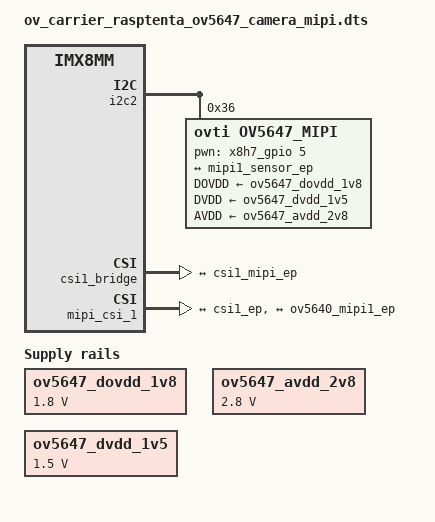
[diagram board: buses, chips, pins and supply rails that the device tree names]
/**
 * Portenta-X8 dtb overlay file
 * Arduino 2023
 * This overlay is adding the RPi V1.3 camera
 * with cmos sensor ov5647 to Rasp-Tenta carrier board
 */

/dts-v1/;
/plugin/;

#include <dt-bindings/gpio/gpio.h>
#include <dt-bindings/interrupt-controller/arm-gic.h>
#include <dt-bindings/clock/imx8mm-clock.h>
#include "imx8mm-pinfunc.h"

/ {
	compatible = "fsl,imx8mm-evk", "fsl,imx8mm";

	fragment@0 {
		target-path = "/";
		__overlay__ {
			ov5647_dovdd_1v8: 1p8v {
				compatible = "regulator-fixed";
				regulator-name = "camera_dovdd";
				regulator-min-microvolt = <1800000>;
				regulator-max-microvolt = <1800000>;
			};

			ov5647_avdd_2v8: 2p8v {
				compatible = "regulator-fixed";
				regulator-name = "camera_avdd";
				regulator-min-microvolt = <2800000>;
				regulator-max-microvolt = <2800000>;
			};

			ov5647_dvdd_1v5: 1p5v {
				compatible = "regulator-fixed";
				regulator-name = "camera_dvdd";
				regulator-min-microvolt = <1500000>;
				regulator-max-microvolt = <1500000>;
			};
		};
	};

	fragment@1 {
		target = <&i2c2>;
		__overlay__ {
			ov5647_mipi@36 {
				compatible = "ovti,ov5647_mipi";
				reg = <0x36>;
				status = "okay";
				DOVDD-supply = <&ov5647_dovdd_1v8>;
				DVDD-supply = <&ov5647_dvdd_1v5>;
				AVDD-supply = <&ov5647_avdd_2v8>;
				clocks = <&clk IMX8MM_CLK_CLKO1>;
				clock-names = "csi_mclk";
				assigned-clocks = <&clk IMX8MM_CLK_CLKO1>;
				assigned-clock-parents = <&clk IMX8MM_CLK_24M>;
				assigned-clock-rates = <24000000>;
				csi_id = <0>;
				pwn-gpios = <&x8h7_gpio 5 GPIO_ACTIVE_HIGH>; /* stm32h7 PE10 */
				mclk = <24000000>;
				mclk_source = <0>;
				port {
					ov5640_mipi1_ep: endpoint {
						remote-endpoint = <&mipi1_sensor_ep>;
						data-lanes = <2>;
						link-frequencies = /bits/ 64 <297000000>;
					};
				};
			};
		};
	};

	fragment@2 {
		target = <&csi1_bridge>;
		__overlay__ {
			port {
				csi1_ep: endpoint {
					remote-endpoint = <&csi1_mipi_ep>;
				};
			};
		};
	};

	fragment@3 {
		target = <&mipi_csi_1>;
		__overlay__ {
			port {
				csi1_mipi_ep: endpoint@2 {
					remote-endpoint = <&csi1_ep>;
				};

				mipi1_sensor_ep: endpoint@1 {
					remote-endpoint = <&ov5640_mipi1_ep>;
					data-lanes = <2>;
				};
			};
		};
	};
};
